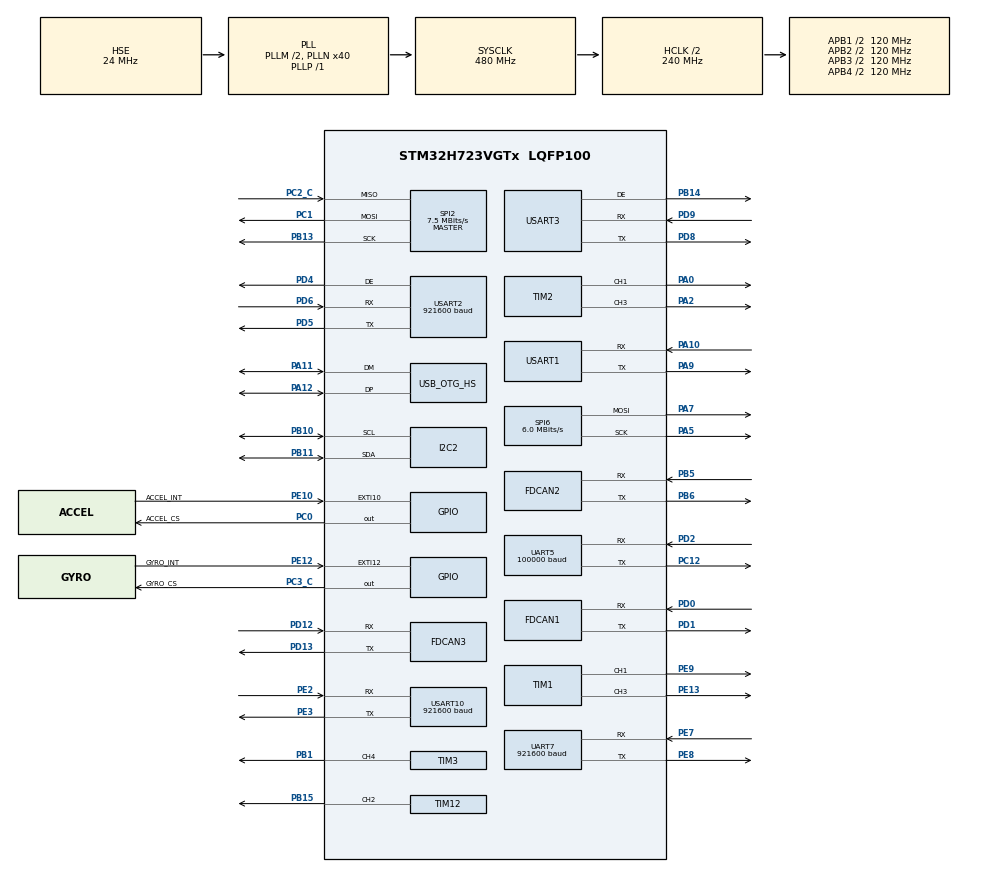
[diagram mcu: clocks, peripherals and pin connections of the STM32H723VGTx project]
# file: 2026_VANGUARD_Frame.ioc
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CORTEX_M7.AccessPermission_Spec=MPU_REGION_FULL_ACCESS
CORTEX_M7.BaseAddress_Spec=0x24000000
CORTEX_M7.CPU_DCache=Disabled
CORTEX_M7.CPU_ICache=Disabled
CORTEX_M7.DisableExec_Spec=MPU_INSTRUCTION_ACCESS_ENABLE
CORTEX_M7.IsShareable_Spec=MPU_ACCESS_NOT_SHAREABLE
CORTEX_M7.Size_Spec=MPU_REGION_SIZE_512KB
CORTEX_M7.SubRegionDisable_Spec=0x0
CORTEX_M7.TypeExtField_Spec=MPU_TEX_LEVEL1
CORTEX_M7.default_mode_Activation=0
Dma.Request0=UART7_RX
Dma.Request1=UART7_TX
Dma.Request2=SPI2_RX
Dma.Request3=SPI2_TX
Dma.Request4=UART5_RX
Dma.Request5=USART10_RX
Dma.SPI2_RX.2.Direction=DMA_PERIPH_TO_MEMORY
Dma.SPI2_RX.2.EventEnable=DISABLE
Dma.SPI2_RX.2.FIFOMode=DMA_FIFOMODE_DISABLE
Dma.SPI2_RX.2.Instance=DMA1_Stream2
Dma.SPI2_RX.2.MemDataAlignment=DMA_MDATAALIGN_BYTE
Dma.SPI2_RX.2.MemInc=DMA_MINC_ENABLE
Dma.SPI2_RX.2.Mode=DMA_NORMAL
Dma.SPI2_RX.2.PeriphDataAlignment=DMA_PDATAALIGN_BYTE
Dma.SPI2_RX.2.PeriphInc=DMA_PINC_DISABLE
Dma.SPI2_RX.2.Polarity=HAL_DMAMUX_REQ_GEN_RISING
Dma.SPI2_RX.2.Priority=DMA_PRIORITY_MEDIUM
Dma.SPI2_RX.2.RequestNumber=1
Dma.SPI2_RX.2.SignalID=NONE
Dma.SPI2_RX.2.SyncEnable=DISABLE
Dma.SPI2_RX.2.SyncPolarity=HAL_DMAMUX_SYNC_NO_EVENT
Dma.SPI2_RX.2.SyncRequestNumber=1
Dma.SPI2_RX.2.SyncSignalID=NONE
Dma.SPI2_TX.3.Direction=DMA_MEMORY_TO_PERIPH
Dma.SPI2_TX.3.EventEnable=DISABLE
Dma.SPI2_TX.3.FIFOMode=DMA_FIFOMODE_DISABLE
Dma.SPI2_TX.3.Instance=DMA1_Stream3
Dma.SPI2_TX.3.MemDataAlignment=DMA_MDATAALIGN_BYTE
Dma.SPI2_TX.3.MemInc=DMA_MINC_ENABLE
Dma.SPI2_TX.3.Mode=DMA_NORMAL
Dma.SPI2_TX.3.PeriphDataAlignment=DMA_PDATAALIGN_BYTE
Dma.SPI2_TX.3.PeriphInc=DMA_PINC_DISABLE
Dma.SPI2_TX.3.Polarity=HAL_DMAMUX_REQ_GEN_RISING
Dma.SPI2_TX.3.Priority=DMA_PRIORITY_LOW
Dma.SPI2_TX.3.RequestNumber=1
Dma.SPI2_TX.3.SignalID=NONE
Dma.SPI2_TX.3.SyncEnable=DISABLE
Dma.SPI2_TX.3.SyncPolarity=HAL_DMAMUX_SYNC_NO_EVENT
Dma.SPI2_TX.3.SyncRequestNumber=1
Dma.SPI2_TX.3.SyncSignalID=NONE
Dma.UART5_RX.4.Direction=DMA_PERIPH_TO_MEMORY
Dma.UART5_RX.4.EventEnable=DISABLE
Dma.UART5_RX.4.FIFOMode=DMA_FIFOMODE_DISABLE
Dma.UART5_RX.4.Instance=DMA1_Stream4
Dma.UART5_RX.4.MemDataAlignment=DMA_MDATAALIGN_BYTE
Dma.UART5_RX.4.MemInc=DMA_MINC_ENABLE
Dma.UART5_RX.4.Mode=DMA_NORMAL
Dma.UART5_RX.4.PeriphDataAlignment=DMA_PDATAALIGN_BYTE
Dma.UART5_RX.4.PeriphInc=DMA_PINC_DISABLE
Dma.UART5_RX.4.Polarity=HAL_DMAMUX_REQ_GEN_RISING
Dma.UART5_RX.4.Priority=DMA_PRIORITY_LOW
Dma.UART5_RX.4.RequestNumber=1
Dma.UART5_RX.4.SignalID=NONE
Dma.UART5_RX.4.SyncEnable=DISABLE
Dma.UART5_RX.4.SyncPolarity=HAL_DMAMUX_SYNC_NO_EVENT
Dma.UART5_RX.4.SyncRequestNumber=1
Dma.UART5_RX.4.SyncSignalID=NONE
Dma.UART7_RX.0.Direction=DMA_PERIPH_TO_MEMORY
Dma.UART7_RX.0.EventEnable=DISABLE
Dma.UART7_RX.0.FIFOMode=DMA_FIFOMODE_DISABLE
Dma.UART7_RX.0.Instance=DMA1_Stream0
Dma.UART7_RX.0.MemDataAlignment=DMA_MDATAALIGN_BYTE
Dma.UART7_RX.0.MemInc=DMA_MINC_ENABLE
Dma.UART7_RX.0.Mode=DMA_NORMAL
Dma.UART7_RX.0.PeriphDataAlignment=DMA_PDATAALIGN_BYTE
Dma.UART7_RX.0.PeriphInc=DMA_PINC_DISABLE
Dma.UART7_RX.0.Polarity=HAL_DMAMUX_REQ_GEN_RISING
Dma.UART7_RX.0.Priority=DMA_PRIORITY_LOW
Dma.UART7_RX.0.RequestNumber=1
Dma.UART7_RX.0.SignalID=NONE
Dma.UART7_RX.0.SyncEnable=DISABLE
Dma.UART7_RX.0.SyncPolarity=HAL_DMAMUX_SYNC_NO_EVENT
Dma.UART7_RX.0.SyncRequestNumber=1
Dma.UART7_RX.0.SyncSignalID=NONE
Dma.UART7_TX.1.Direction=DMA_MEMORY_TO_PERIPH
Dma.UART7_TX.1.EventEnable=DISABLE
Dma.UART7_TX.1.FIFOMode=DMA_FIFOMODE_DISABLE
Dma.UART7_TX.1.Instance=DMA1_Stream1
Dma.UART7_TX.1.MemDataAlignment=DMA_MDATAALIGN_BYTE
Dma.UART7_TX.1.MemInc=DMA_MINC_ENABLE
Dma.UART7_TX.1.Mode=DMA_NORMAL
Dma.UART7_TX.1.PeriphDataAlignment=DMA_PDATAALIGN_BYTE
Dma.UART7_TX.1.PeriphInc=DMA_PINC_DISABLE
Dma.UART7_TX.1.Polarity=HAL_DMAMUX_REQ_GEN_RISING
Dma.UART7_TX.1.Priority=DMA_PRIORITY_LOW
Dma.UART7_TX.1.RequestNumber=1
Dma.UART7_TX.1.SignalID=NONE
Dma.UART7_TX.1.SyncEnable=DISABLE
Dma.UART7_TX.1.SyncPolarity=HAL_DMAMUX_SYNC_NO_EVENT
Dma.UART7_TX.1.SyncRequestNumber=1
Dma.UART7_TX.1.SyncSignalID=NONE
Dma.USART10_RX.5.Direction=DMA_PERIPH_TO_MEMORY
Dma.USART10_RX.5.EventEnable=DISABLE
Dma.USART10_RX.5.FIFOMode=DMA_FIFOMODE_DISABLE
Dma.USART10_RX.5.Instance=DMA1_Stream5
Dma.USART10_RX.5.MemDataAlignment=DMA_MDATAALIGN_BYTE
Dma.USART10_RX.5.MemInc=DMA_MINC_ENABLE
Dma.USART10_RX.5.Mode=DMA_NORMAL
Dma.USART10_RX.5.PeriphDataAlignment=DMA_PDATAALIGN_BYTE
Dma.USART10_RX.5.PeriphInc=DMA_PINC_DISABLE
Dma.USART10_RX.5.Polarity=HAL_DMAMUX_REQ_GEN_RISING
Dma.USART10_RX.5.Priority=DMA_PRIORITY_LOW
Dma.USART10_RX.5.RequestNumber=1
Dma.USART10_RX.5.SignalID=NONE
Dma.USART10_RX.5.SyncEnable=DISABLE
Dma.USART10_RX.5.SyncPolarity=HAL_DMAMUX_SYNC_NO_EVENT
Dma.USART10_RX.5.SyncRequestNumber=1
Dma.USART10_RX.5.SyncSignalID=NONE
FDCAN1.AutoRetransmission=ENABLE
FDCAN1.CalculateBaudRateNominal=1000000
FDCAN1.CalculateTimeBitNominal=1000
FDCAN1.CalculateTimeQuantumNominal=200.0
FDCAN1.DataSyncJumpWidth=5
FDCAN1.DataTimeSeg1=14
FDCAN1.DataTimeSeg2=5
FDCAN1.FrameFormat=FDCAN_FRAME_FD_NO_BRS
FDCAN1.NominalPrescaler=24
FDCAN1.NominalSyncJumpWidth=5
FDCAN1.NominalTimeSeg1=2
FDCAN1.NominalTimeSeg2=2
FDCAN1.ProtocolException=ENABLE
FDCAN1.RxFifo0ElmtsNbr=6
FDCAN1.RxFifo1ElmtsNbr=8
FDCAN1.StdFiltersNbr=42
FDCAN1.TxFifoQueueElmtsNbr=32
FDCAN2.AutoRetransmission=ENABLE
FDCAN2.CalculateBaudRateNominal=1000000
FDCAN2.CalculateTimeBitNominal=1000
FDCAN2.CalculateTimeQuantumNominal=200.0
FDCAN2.DataSyncJumpWidth=5
FDCAN2.DataTimeSeg1=14
FDCAN2.DataTimeSeg2=5
FDCAN2.FrameFormat=FDCAN_FRAME_FD_NO_BRS
FDCAN2.MessageRAMOffset=853
FDCAN2.NominalPrescaler=24
FDCAN2.NominalSyncJumpWidth=5
FDCAN2.NominalTimeSeg1=2
FDCAN2.NominalTimeSeg2=2
FDCAN2.ProtocolException=ENABLE
FDCAN2.RxFifo0ElmtsNbr=8
FDCAN2.RxFifo1ElmtsNbr=8
FDCAN2.StdFiltersNbr=42
FDCAN2.TxFifoQueueElmtsNbr=32
FDCAN3.AutoRetransmission=ENABLE
FDCAN3.CalculateBaudRateNominal=1000000
FDCAN3.CalculateTimeBitNominal=1000
FDCAN3.CalculateTimeQuantumNominal=25.0
FDCAN3.DataPrescaler=3
FDCAN3.DataSyncJumpWidth=10
FDCAN3.DataTimeSeg1=29
FDCAN3.DataTimeSeg2=10
FDCAN3.MessageRAMOffset=1706
FDCAN3.NominalPrescaler=3
FDCAN3.NominalSyncJumpWidth=10
FDCAN3.NominalTimeSeg1=29
FDCAN3.NominalTimeSeg2=10
FDCAN3.ProtocolException=DISABLE
FDCAN3.RxFifo0ElmtsNbr=8
FDCAN3.RxFifo1ElmtsNbr=8
FDCAN3.StdFiltersNbr=42
FDCAN3.TxFifoQueueElmtsNbr=32
FREERTOS.Tasks01=defaultTask,24,128,StartDefaultTask,Default,NULL,Dynamic,NULL,NULL
I2C2.Timing=0x307075B1
Mcu.Family=STM32H7
Mcu.Name=STM32H723VGTx
Mcu.Package=LQFP100
NVIC.DMA1_Stream0_IRQn=true\:5\:0\:false\:false\:true\:true\:false\:true\:true
NVIC.DMA1_Stream1_IRQn=true\:5\:0\:false\:false\:true\:true\:false\:true\:true
NVIC.DMA1_Stream2_IRQn=true\:5\:0\:false\:false\:true\:true\:false\:true\:true
NVIC.DMA1_Stream3_IRQn=true\:5\:0\:false\:false\:true\:true\:false\:true\:true
NVIC.DMA1_Stream4_IRQn=true\:5\:0\:false\:false\:true\:true\:false\:true\:true
NVIC.DMA1_Stream5_IRQn=true\:5\:0\:false\:false\:true\:true\:false\:true\:true
NVIC.EXTI15_10_IRQn=true\:5\:0\:false\:false\:true\:true\:true\:true\:true
NVIC.FDCAN1_IT0_IRQn=true\:5\:0\:false\:false\:true\:true\:true\:true\:true
NVIC.FDCAN1_IT1_IRQn=true\:5\:0\:false\:false\:true\:true\:true\:true\:true
NVIC.FDCAN2_IT0_IRQn=true\:5\:0\:false\:false\:true\:true\:true\:true\:true
NVIC.FDCAN2_IT1_IRQn=true\:5\:0\:false\:false\:true\:true\:true\:true\:true
NVIC.FDCAN3_IT0_IRQn=true\:5\:0\:false\:false\:true\:true\:true\:true\:true
NVIC.FDCAN3_IT1_IRQn=true\:5\:0\:false\:false\:true\:true\:true\:true\:true
NVIC.OTG_HS_IRQn=true\:5\:0\:false\:false\:true\:true\:true\:true\:true
NVIC.PriorityGroup=NVIC_PRIORITYGROUP_4
NVIC.RNG_IRQn=true\:5\:0\:false\:false\:true\:true\:true\:true\:true
NVIC.SPI2_IRQn=true\:5\:0\:false\:false\:true\:true\:true\:true\:true
NVIC.TIM7_IRQn=true\:15\:0\:false\:false\:true\:false\:false\:true\:true
NVIC.TimeBase=TIM7_IRQn
NVIC.TimeBaseIP=TIM7
NVIC.UART5_IRQn=true\:5\:0\:false\:false\:true\:true\:true\:true\:true
NVIC.UART7_IRQn=true\:5\:0\:false\:false\:true\:true\:true\:true\:true
NVIC.USART10_IRQn=true\:5\:0\:false\:false\:true\:true\:true\:true\:true
NVIC.USART1_IRQn=true\:5\:0\:false\:false\:true\:true\:true\:true\:true
NVIC.USART2_IRQn=true\:5\:0\:false\:false\:true\:true\:true\:true\:true
NVIC.USART3_IRQn=true\:5\:0\:false\:false\:true\:true\:true\:true\:true
PA0.Signal=S_TIM2_CH1_ETR
PA10.Mode=Asynchronous
PA10.Signal=USART1_RX
PA11.Mode=Device_Only_FS
PA11.Signal=USB_OTG_HS_DM
PA12.Mode=Device_Only_FS
PA12.Signal=USB_OTG_HS_DP
PA13(JTMS/SWDIO).Mode=Serial_Wire
PA13(JTMS/SWDIO).Signal=DEBUG_JTMS-SWDIO
PA14(JTCK/SWCLK).Mode=Serial_Wire
PA14(JTCK/SWCLK).Signal=DEBUG_JTCK-SWCLK
PA2.Signal=S_TIM2_CH3
PA5.Mode=TX_Only_Simplex_Unidirect_Master
PA5.Signal=SPI6_SCK
PA7.Mode=TX_Only_Simplex_Unidirect_Master
PA7.Signal=SPI6_MOSI
PA9.Mode=Asynchronous
PA9.Signal=USART1_TX
PB1.Signal=S_TIM3_CH4
PB10.Mode=I2C
PB10.Signal=I2C2_SCL
PB11.Mode=I2C
PB11.Signal=I2C2_SDA
PB13.GPIO_Speed=GPIO_SPEED_FREQ_VERY_HIGH
PB13.Mode=Full_Duplex_Master
PB13.Signal=SPI2_SCK
PB14.Mode=Hardware Flow Control (RS485)
PB14.Signal=USART3_DE
PB15.Signal=S_TIM12_CH2
PB5.GPIO_Speed=GPIO_SPEED_FREQ_HIGH
PB5.Mode=FDCAN_Activate
PB5.Signal=FDCAN2_RX
PB6.GPIO_Speed=GPIO_SPEED_FREQ_HIGH
PB6.Mode=FDCAN_Activate
PB6.Signal=FDCAN2_TX
PC0.GPIO_Label=ACCEL_CS
PC0.GPIO_PuPd=GPIO_NOPULL
PC0.GPIO_Speed=GPIO_SPEED_FREQ_VERY_HIGH
PC0.PinState=GPIO_PIN_SET
PC0.Signal=GPIO_Output
PC1.GPIO_Speed=GPIO_SPEED_FREQ_VERY_HIGH
PC1.Mode=Full_Duplex_Master
PC1.Signal=SPI2_MOSI
PC12.Mode=Asynchronous
PC12.Signal=UART5_TX
PC14-OSC32_IN.Mode=LSE-External-Oscillator
PC14-OSC32_IN.Signal=RCC_OSC32_IN
PC15-OSC32_OUT.Mode=LSE-External-Oscillator
PC15-OSC32_OUT.Signal=RCC_OSC32_OUT
PC2_C.GPIO_Speed=GPIO_SPEED_FREQ_VERY_HIGH
PC2_C.Mode=Full_Duplex_Master
PC2_C.Signal=SPI2_MISO
PC3_C.GPIO_Label=GYRO_CS
PC3_C.GPIO_PuPd=GPIO_NOPULL
PC3_C.GPIO_Speed=GPIO_SPEED_FREQ_VERY_HIGH
PC3_C.PinState=GPIO_PIN_SET
PC3_C.Signal=GPIO_Output
PD0.GPIO_Speed=GPIO_SPEED_FREQ_HIGH
PD0.Mode=FDCAN_Activate
PD0.Signal=FDCAN1_RX
PD1.GPIO_Speed=GPIO_SPEED_FREQ_HIGH
PD1.Mode=FDCAN_Activate
PD1.Signal=FDCAN1_TX
PD12.GPIO_Speed=GPIO_SPEED_FREQ_HIGH
PD12.Mode=FDCAN_Activate
PD12.Signal=FDCAN3_RX
PD13.GPIO_Speed=GPIO_SPEED_FREQ_HIGH
PD13.Mode=FDCAN_Activate
PD13.Signal=FDCAN3_TX
PD2.Mode=Asynchronous
PD2.Signal=UART5_RX
PD4.Mode=Hardware Flow Control (RS485)
PD4.Signal=USART2_DE
PD5.Mode=Asynchronous
PD5.Signal=USART2_TX
PD6.Mode=Asynchronous
PD6.Signal=USART2_RX
PD8.Mode=Asynchronous
PD8.Signal=USART3_TX
PD9.Mode=Asynchronous
PD9.Signal=USART3_RX
PE10.GPIO_Label=ACCEL_INT
PE10.GPIO_ModeDefaultEXTI=GPIO_MODE_IT_RISING
PE10.GPIO_PuPd=GPIO_NOPULL
PE10.Signal=GPXTI10
PE12.GPIO_Label=GYRO_INT
PE12.GPIO_ModeDefaultEXTI=GPIO_MODE_IT_RISING
PE12.GPIO_PuPd=GPIO_NOPULL
PE12.Signal=GPXTI12
PE13.Signal=S_TIM1_CH3
PE2.Mode=Asynchronous
PE2.Signal=USART10_RX
PE3.Mode=Asynchronous
PE3.Signal=USART10_TX
PE7.Mode=Asynchronous
PE7.Signal=UART7_RX
PE8.Mode=Asynchronous
PE8.Signal=UART7_TX
PE9.Signal=S_TIM1_CH1
PH0-OSC_IN.Mode=HSE-External-Oscillator
PH0-OSC_IN.Signal=RCC_OSC_IN
PH1-OSC_OUT.Mode=HSE-External-Oscillator
PH1-OSC_OUT.Signal=RCC_OSC_OUT
ProjectManager.HeapSize=0x1600
ProjectManager.StackSize=0x3200
ProjectManager.TargetToolchain=MDK-ARM V5.32
RCC.ADCFreq_Value=240000000
RCC.APB1Freq_Value=120000000
RCC.APB2Freq_Value=120000000
RCC.APB3Freq_Value=120000000
RCC.APB4Freq_Value=120000000
RCC.CortexFreq_Value=480000000
RCC.D1PPRE=RCC_APB3_DIV2
RCC.D2PPRE1=RCC_APB1_DIV2
RCC.D2PPRE2=RCC_APB2_DIV2
RCC.D3PPRE=RCC_APB4_DIV2
RCC.DIVM1=2
RCC.DIVM2=2
RCC.DIVN1=40
RCC.DIVN2=40
RCC.DIVP1=1
RCC.DIVQ1=4
RCC.DIVQ2=20
RCC.HCLKFreq_Value=240000000
RCC.HPRE=RCC_HCLK_DIV2
RCC.HSE_VALUE=24000000
RCC.PLLSourceVirtual=RCC_PLLSOURCE_HSE
RCC.SPI6CLockSelection=RCC_SPI6CLKSOURCE_PLL2
RCC.SYSCLKFreq_VALUE=480000000
RCC.SYSCLKSource=RCC_SYSCLKSOURCE_PLLCLK
RCC.USBCLockSelection=RCC_USBCLKSOURCE_HSI48
RCC.USBFreq_Value=48000000
SH.S_TIM12_CH2.0=TIM12_CH2,PWM Generation2 CH2
SH.S_TIM1_CH1.0=TIM1_CH1,PWM Generation1 CH1
SH.S_TIM1_CH3.0=TIM1_CH3,PWM Generation3 CH3
SH.S_TIM2_CH1_ETR.0=TIM2_CH1,PWM Generation1 CH1
SH.S_TIM2_CH3.0=TIM2_CH3,PWM Generation3 CH3
SH.S_TIM3_CH4.0=TIM3_CH4,PWM Generation4 CH4
SPI2.BaudRatePrescaler=SPI_BAUDRATEPRESCALER_16
SPI2.CLKPhase=SPI_PHASE_2EDGE
SPI2.CLKPolarity=SPI_POLARITY_HIGH
SPI2.CalculateBaudRate=7.5 MBits/s
SPI2.DataSize=SPI_DATASIZE_8BIT
SPI2.Direction=SPI_DIRECTION_2LINES
SPI2.Mode=SPI_MODE_MASTER
SPI2.VirtualType=VM_MASTER
SPI6.BaudRatePrescaler=SPI_BAUDRATEPRESCALER_4
SPI6.CLKPhase=SPI_PHASE_2EDGE
SPI6.CalculateBaudRate=6.0 MBits/s
SPI6.DataSize=SPI_DATASIZE_8BIT
SPI6.Direction=SPI_DIRECTION_2LINES_TXONLY
SPI6.Mode=SPI_MODE_MASTER
SPI6.VirtualType=VM_MASTER
STMicroelectronics.X-CUBE-ALGOBUILD.1.4.0.LibraryCcDSPOoLibraryJjDSPOoLibrary=true
TIM1.Channel-PWM\ Generation1\ CH1=TIM_CHANNEL_1
TIM1.Channel-PWM\ Generation3\ CH3=TIM_CHANNEL_3
TIM12.Channel-PWM\ Generation2\ CH2=TIM_CHANNEL_2
TIM12.Period=2000-1
TIM12.Prescaler=24-1
TIM12.Pulse-PWM\ Generation2\ CH2=1000
TIM2.Channel-PWM\ Generation1\ CH1=TIM_CHANNEL_1
TIM2.Channel-PWM\ Generation3\ CH3=TIM_CHANNEL_3
TIM3.Channel-PWM\ Generation4\ CH4=TIM_CHANNEL_4
TIM3.Period=20000-1
TIM3.Prescaler=24-1
UART5.BaudRate=100000
UART5.Mode=MODE_RX
UART5.OverrunDisableParam=UART_ADVFEATURE_OVERRUN_DISABLE
UART5.Parity=PARITY_EVEN
UART5.StopBits=UART_STOPBITS_2
UART5.WordLength=WORDLENGTH_9B
UART7.BaudRate=921600
USART1.VirtualMode-Asynchronous=VM_ASYNC
USART10.BaudRate=921600
USART10.VirtualMode=VM_ASYNC
USART2.BaudRate=921600
USART2.VirtualMode-Asynchronous=VM_ASYNC
USART2.VirtualMode-Hardware\ Flow\ Control\ (RS485)=VM_ASYNC
USART3.VirtualMode-Asynchronous=VM_ASYNC
USART3.VirtualMode-Hardware\ Flow\ Control\ (RS485)=VM_ASYNC
USB_DEVICE.CLASS_NAME_HS=CDC
USB_DEVICE.VirtualMode=Cdc
USB_DEVICE.VirtualModeHS=Cdc_HS
USB_OTG_HS.VirtualMode-Device_Only_FS=Device_Only_FS
VP_FREERTOS_VS_CMSIS_V2.Mode=CMSIS_V2
VP_MEMORYMAP_VS_MEMORYMAP.Mode=CurAppReg
VP_RNG_VS_RNG.Mode=RNG_Activate
VP_STMicroelectronics.X-CUBE-ALGOBUILD_VS_DSPOoLibraryJjLibrary_1.4.0_1.4.0.Mode=DSPOoLibraryJjLibrary
VP_SYS_VS_tim7.Mode=TIM7
VP_USB_DEVICE_VS_USB_DEVICE_CDC_HS.Mode=CDC_HS
board=custom

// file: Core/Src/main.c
/* USER CODE BEGIN Header */
/**
  ******************************************************************************
  * @file           : main.c
  * @brief          : Main program body
  ******************************************************************************
  * @attention
  *
  * Copyright (c) 2025 STMicroelectronics.
  * All rights reserved.
  *
  * This software is licensed under terms that can be found in the LICENSE file
  * in the root directory of this software component.
  * If no LICENSE file comes with this software, it is provided AS-IS.
  *
  ******************************************************************************
  */
/* USER CODE END Header */
#include "main.h"
#include "cmsis_os.h"
#include "dma.h"
#include "fdcan.h"
#include "i2c.h"
#include "rng.h"
#include "spi.h"
#include "tim.h"
#include "usart.h"
#include "usb_device.h"
#include "gpio.h"

/* USER CODE BEGIN Includes */
#include "robot_frame_init.h"
/* USER CODE END Includes */

void SystemClock_Config(void);
void MX_FREERTOS_Init(void);

int main(void)
{

  /* MCU Configuration--------------------------------------------------------*/

  /* Reset of all peripherals, Initializes the Flash interface and the Systick. */
  HAL_Init();

  /* Configure the system clock */
  SystemClock_Config();

  /* Initialize all configured peripherals */
  MX_GPIO_Init();
  MX_DMA_Init();
  MX_TIM1_Init();
  MX_TIM2_Init();
  MX_UART5_Init();
  MX_UART7_Init();
  MX_USART1_UART_Init();
  MX_USART2_UART_Init();
  MX_USART3_UART_Init();
  MX_USART10_UART_Init();
  MX_FDCAN1_Init();
  MX_FDCAN2_Init();
  MX_FDCAN3_Init();
  MX_SPI2_Init();
  MX_SPI6_Init();
  MX_TIM3_Init();
  MX_TIM12_Init();
  MX_I2C2_Init();
  MX_RNG_Init();
  /* USER CODE BEGIN 2 */
  Robot_Frame_Init();
  /* USER CODE END 2 */

  /* Init scheduler */
  osKernelInitialize();  /* Call init function for freertos objects (in cmsis_os2.c) */
  MX_FREERTOS_Init();

  /* Start scheduler */
  osKernelStart();

  /* We should never get here as control is now taken by the scheduler */

  /* Infinite loop */
  while (1)
  {

  }
}

void SystemClock_Config(void)
{
  RCC_OscInitTypeDef RCC_OscInitStruct = {0};
  RCC_ClkInitTypeDef RCC_ClkInitStruct = {0};

  /** Supply configuration update enable
  */
  HAL_PWREx_ConfigSupply(PWR_LDO_SUPPLY);

  /** Configure the main internal regulator output voltage
  */
  __HAL_PWR_VOLTAGESCALING_CONFIG(PWR_REGULATOR_VOLTAGE_SCALE0);

  while(!__HAL_PWR_GET_FLAG(PWR_FLAG_VOSRDY)) {}

  /** Initializes the RCC Oscillators according to the specified parameters
  * in the RCC_OscInitTypeDef structure.
  */
  RCC_OscInitStruct.OscillatorType = RCC_OSCILLATORTYPE_HSI48|RCC_OSCILLATORTYPE_HSE;
  RCC_OscInitStruct.HSEState = RCC_HSE_ON;
  RCC_OscInitStruct.HSI48State = RCC_HSI48_ON;
  RCC_OscInitStruct.PLL.PLLState = RCC_PLL_ON;
  RCC_OscInitStruct.PLL.PLLSource = RCC_PLLSOURCE_HSE;
  RCC_OscInitStruct.PLL.PLLM = 2;
  RCC_OscInitStruct.PLL.PLLN = 40;
  RCC_OscInitStruct.PLL.PLLP = 1;
  RCC_OscInitStruct.PLL.PLLQ = 4;
  RCC_OscInitStruct.PLL.PLLR = 2;
  RCC_OscInitStruct.PLL.PLLRGE = RCC_PLL1VCIRANGE_3;
  RCC_OscInitStruct.PLL.PLLVCOSEL = RCC_PLL1VCOWIDE;
  RCC_OscInitStruct.PLL.PLLFRACN = 0;
  if (HAL_RCC_OscConfig(&RCC_OscInitStruct) != HAL_OK)
  {
    Error_Handler();
  }

  /** Initializes the CPU, AHB and APB buses clocks
  */
  RCC_ClkInitStruct.ClockType = RCC_CLOCKTYPE_HCLK|RCC_CLOCKTYPE_SYSCLK
                              |RCC_CLOCKTYPE_PCLK1|RCC_CLOCKTYPE_PCLK2
                              |RCC_CLOCKTYPE_D3PCLK1|RCC_CLOCKTYPE_D1PCLK1;
  RCC_ClkInitStruct.SYSCLKSource = RCC_SYSCLKSOURCE_PLLCLK;
  RCC_ClkInitStruct.SYSCLKDivider = RCC_SYSCLK_DIV1;
  RCC_ClkInitStruct.AHBCLKDivider = RCC_HCLK_DIV2;
  RCC_ClkInitStruct.APB3CLKDivider = RCC_APB3_DIV2;
  RCC_ClkInitStruct.APB1CLKDivider = RCC_APB1_DIV2;
  RCC_ClkInitStruct.APB2CLKDivider = RCC_APB2_DIV2;
  RCC_ClkInitStruct.APB4CLKDivider = RCC_APB4_DIV2;

  if (HAL_RCC_ClockConfig(&RCC_ClkInitStruct, FLASH_LATENCY_3) != HAL_OK)
  {
    Error_Handler();
  }
}

void HAL_TIM_PeriodElapsedCallback(TIM_HandleTypeDef *htim)
{
  if (htim->Instance == TIM7)
  {
    HAL_IncTick();
  }
}

void Error_Handler(void)
{
  __disable_irq();
  while (1)
  {
  }
}

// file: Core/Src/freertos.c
/* USER CODE BEGIN Header */
/**
  ******************************************************************************
  * File Name          : freertos.c
  * Description        : Code for freertos applications
  ******************************************************************************
  * @attention
  *
  * Copyright (c) 2025 STMicroelectronics.
  * All rights reserved.
  *
  * This software is licensed under terms that can be found in the LICENSE file
  * in the root directory of this software component.
  * If no LICENSE file comes with this software, it is provided AS-IS.
  *
  ******************************************************************************
  */
/* USER CODE END Header */

#include "FreeRTOS.h"
#include "task.h"
#include "main.h"
#include "cmsis_os.h"

/* USER CODE BEGIN Includes */
/******************************这里是塞💩的地方，请随便塞💩*****************************/
#include "rng.h"
#include "robot_frame_init.h"
#include "buzzer.h"
#include "ws2812.h"
#include "wfly_control.h"

/******************************这里是塞💩的地方，请随便塞💩*****************************/
/* USER CODE END Includes */

/* Definitions for defaultTask */
osThreadId_t defaultTaskHandle;
const osThreadAttr_t defaultTask_attributes = {
  .name = "defaultTask",
  .stack_size = 128 * 4,
  .priority = (osPriority_t) osPriorityNormal,
};

void StartDefaultTask(void *argument);

extern void MX_USB_DEVICE_Init(void);
void MX_FREERTOS_Init(void); /* (MISRA C 2004 rule 8.1) */

void MX_FREERTOS_Init(void) {

  /* Create the thread(s) */
  /* creation of defaultTask */
  defaultTaskHandle = osThreadNew(StartDefaultTask, NULL, &defaultTask_attributes);

}

/* USER CODE BEGIN Header_StartDefaultTask */
/**
  * @brief  Function implementing the defaultTask thread.
  * @param  argument: Not used
  * @retval None
  */
/******************************这里是塞💩的地方，请随便塞💩*****************************/

uint32_t beat = 0;
/* USER CODE END Header_StartDefaultTask */
void StartDefaultTask(void *argument)
{
  /* init code for USB_DEVICE */
  MX_USB_DEVICE_Init();
  /* USER CODE BEGIN StartDefaultTask */
	uint8_t default_init_flag = 0;
	WS2812_Control(ws2812_instance, GREEN_WS2812_COLOR);

	Buzzer_Play(Super_Mario_sound, 0);
	osDelay(1500);
	/* Infinite loop */
	for (;;)
	{
    //检测键鼠模式
    ROBOT_FRAME_KEYBOARD_UPDATE();

		static uint8_t music_lock = 0;
//		if (default_init_flag == 0)
//		{
//			if (rc_data->online == 0)
//			{
//				Buzzer_Play(No_RC_sound, 0);
//				music_lock = 1;
//			}
//			else if (rc_data->online == 1)
//			{
//				Buzzer_Play(Yes_RC_sound, 0);
//				music_lock = 0;
//			}
//			default_init_flag = 1;
//		}
//		else
//		{
//			if (rc_data->online == 0)
//			{
//				if (music_lock == 0)
//				{
//					Buzzer_Play(No_RC_sound, 0);
//					music_lock = 1;
//				}
//			}
//			else if (rc_data->online == 1)
//			{
//				if (music_lock == 1)
//				{
//					Buzzer_Play(Yes_RC_sound, 0);
//					music_lock = 0;
//				}
//			}
//		}

		beat++;
		if ((beat % 120000) == 0)
		{
			Buzzer_Play(Super_Mario_sound, 0);
		}
		else if ((beat % 30000) == 0)
		{
			Buzzer_Play(Heartbeat_sound, 0);
		}
		else if ((beat % 55555) == 0)
		{
			Buzzer_Play(Call_Airsupport_sound, 0);
		}

		//有💩
		//    uint32_t rand_data = 0;
		//    HAL_RNG_GenerateRandomNumber(&hrng, (uint32_t*)&rand_data);
		//
		//		if(rand_data == 0xFFFFFFFF)
		//		{
		//			Buzzer_Play(Call_Airsupport_sound, 0);
		//		}

		osDelay(1);
	}
  /* USER CODE END StartDefaultTask */
}

/* USER CODE BEGIN Application */
/******************************这里是塞💩的地方，请随便塞💩*****************************/
/* USER CODE END Application */
